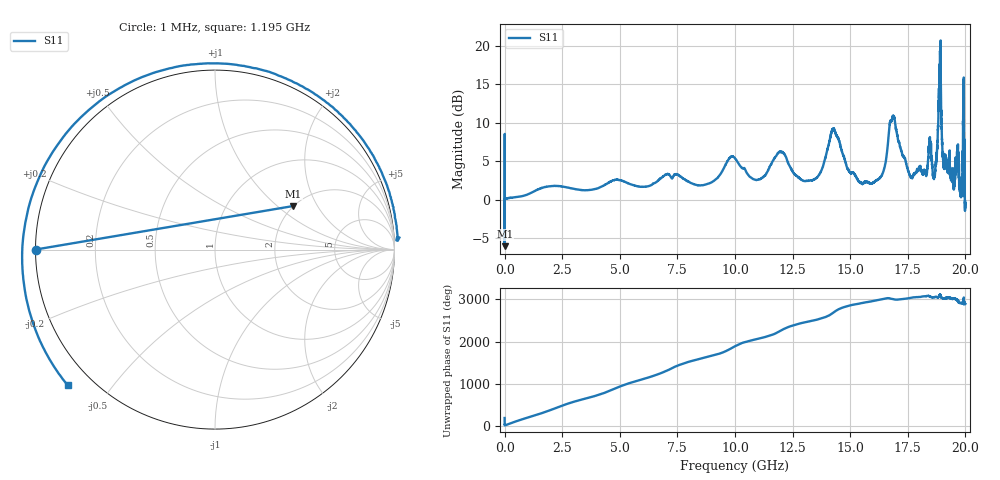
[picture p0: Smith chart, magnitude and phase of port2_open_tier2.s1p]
! Created with skrf 1.8.0 (http://scikit-rf.org).
# GHz S RI R 50.0
!freq ReS11 ImS11
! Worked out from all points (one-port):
!   10001 points, 1 MHz to 20 GHz, reference 50 ohm
!   lowest |S11| = -6.0 dB at 3 MHz (marker M1), VSWR 2.99, Z = 99.6 + j64.5 ohm
!   |S11| at or under -10 dB: nowhere
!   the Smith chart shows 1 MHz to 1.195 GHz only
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0.001  -1 0.00024
0.0029999  0.4364 0.2428
1.518924  0.1707 -1.169
2.500875  -0.5069 1.108
3.336833  -0.258 -1.126
4.054797  1.182 0.1227
5.00075  -1.176 -0.6464
5.850708  1.217 0.015
6.902655  -1.382 -0.3355
7.500625  1.403 -0.3947
8.654567  -1.235 0.1746
9.40653  0.4339 -1.432
10.0005  0.081 1.853
10.90845  -0.3766 -1.286
11.66642  1.781 0.3269
11.9864  -0.3038 2.018
12.50038  -1.201 -0.9464
13.70831  1.38 0.5812
14.0963  -0.5777 2.337
14.30428  -2.839 -0.0524
14.52827  -0.5841 -2.324
15.00025  1.404 -0.5133
16.91415  -1.803 2.891
17.50013  -1.306 0.8572
18.66207  -1.449 0.0818
18.88606  -4.572 -4.099
19.04805  -1.378 1.195
20  0.9157 0.2477
